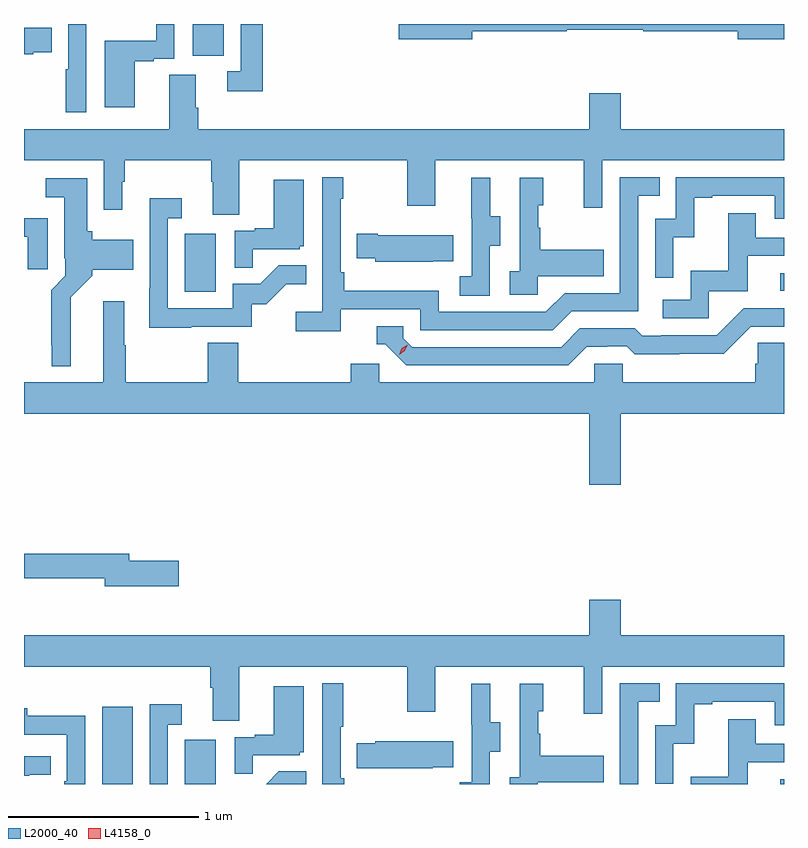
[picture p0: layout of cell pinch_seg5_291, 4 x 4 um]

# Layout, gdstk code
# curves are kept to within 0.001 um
import gdstk
lib = gdstk.Library(unit=1e-6, precision=1e-09)
def R(c, l, rs):  # rectangles x0, y0, x1, y1
    for r in rs: c.add(gdstk.rectangle(r[:2], r[2:], *l))
def P(c, l, *ps):  # polygons
    for p in ps: c.add(gdstk.Polygon(p, *l))
L2000_40 = (2000, 40)
L4158_0 = (4158, 0)

pinch_seg5_291 = lib.new_cell('pinch_seg5_291')
R(pinch_seg5_291, L2000_40, [(893.711,888.11,893.872,888.517), (894.146,888.11,894.31,888.343), (897.279,888.11,897.3,888.135), (894.146,890.7,894.31,891.007), (897.279,890.706,897.3,890.799), (894.188,891.942,894.352,892.11)])
P(pinch_seg5_291, L2000_40, [(895.66,892.072),(896.156,892.072),(896.156,892.08),(896.56,892.08),(896.56,892.072),(897.056,892.072),(897.056,892.03),(897.3,892.03),(897.3,892.11),(895.272,892.11),(895.272,892.03),(895.66,892.03)],
  [(893.628,892.11),(893.532,892.11),(893.532,891.872),(893.52,891.872),(893.52,891.645),(893.628,891.645)],
  [(893.884,891.915),(893.984,891.915),(893.984,891.927),(894.09,891.927),(894.09,892.11),(893.995,892.11),(893.995,892.023),(893.726,892.023),(893.726,891.672),(893.884,891.672)],
  [(894.557,892.11),(894.441,892.11),(894.441,891.861),(894.369,891.861),(894.369,891.756),(894.557,891.756)],
  [(893.859,892.11),(893.713,892.11),(893.713,892.108),(893.857,892.108)],
  [(893.349,891.961),(893.447,891.961),(893.447,892.09),(893.3,892.09),(893.3,891.95),(893.349,891.95)],
  [(894.433,891.392),(895.318,891.392),(895.318,891.153),(895.465,891.153),(895.465,891.392),(896.246,891.392),(896.246,891.144),(896.343,891.144),(896.343,891.392),(897.3,891.392),(897.3,891.556),(896.44,891.556),(896.44,891.745),(896.276,891.745),(896.276,891.556),(894.218,891.556),(894.218,891.668),(894.205,891.668),(894.205,891.842),(894.065,891.842),(894.065,891.556),(893.3,891.556),(893.3,891.392),(893.721,891.392),(893.721,891.132),(893.818,891.132),(893.818,891.28),(893.83,891.28),(893.83,891.392),(894.286,891.392),(894.286,891.28),(894.293,891.28),(894.293,891.106),(894.433,891.106)],
  [(894.968,890.61),(895.386,890.61),(895.386,890.499),(896.083,890.499),(896.182,890.598),(896.532,890.598),(896.532,891.207),(896.645,891.207),(896.645,891.303),(896.436,891.303),(896.436,890.694),(896.145,890.694),(896.046,890.595),(895.482,890.595),(895.482,890.707),(894.986,890.707),(894.986,890.803),(894.966,890.803),(894.966,891.191),(894.979,891.191),(894.979,891.304),(894.87,891.304),(894.87,890.596),(894.729,890.596),(894.729,890.494),(894.968,890.494)],
  [(896.718,890.987),(896.828,890.987),(896.828,891.195),(896.923,891.195),(896.923,891.207),(897.252,891.207),(897.252,891.084),(897.3,891.084),(897.3,891.303),(896.73,891.303),(896.73,891.084),(896.622,891.084),(896.622,890.775),(896.718,890.775)],
  [(895.752,890.944),(895.807,890.944),(895.807,891.099),(895.753,891.099),(895.753,891.301),(895.655,891.301),(895.655,891.087),(895.656,891.087),(895.656,890.783),(895.593,890.783),(895.593,890.68),(895.752,890.68)],
  [(896.004,890.783),(896.351,890.783),(896.351,890.923),(896.017,890.923),(896.017,891.038),(896.007,891.038),(896.007,891.156),(896.032,891.156),(896.032,891.301),(895.908,891.301),(895.908,890.81),(895.857,890.81),(895.857,890.685),(896.004,890.685)],
  [(893.545,890.672),(893.658,890.785),(893.658,890.816),(893.875,890.816),(893.875,890.974),(893.658,890.974),(893.658,891.018),(893.632,891.018),(893.632,891.298),(893.415,891.298),(893.415,891.197),(893.513,891.197),(893.513,890.878),(893.517,890.878),(893.517,890.784),(893.443,890.71),(893.443,890.419),(893.447,890.419),(893.447,890.309),(893.545,890.309)],
  [(894.503,890.925),(894.75,890.925),(894.75,890.94),(894.772,890.94),(894.772,891.289),(894.614,891.289),(894.614,891.034),(894.515,891.034),(894.515,891.021),(894.408,891.021),(894.408,890.827),(894.503,890.827)],
  [(894.179,890.517),(894.498,890.517),(894.498,890.634),(894.574,890.634),(894.681,890.741),(894.785,890.741),(894.785,890.84),(894.641,890.84),(894.543,890.742),(894.399,890.742),(894.399,890.613),(894.057,890.613),(894.057,891.087),(894.13,891.087),(894.13,891.193),(893.961,891.193),(893.96,890.512),(894.179,890.512)],
  [(896.904,890.703),(897.109,890.703),(897.109,890.889),(897.3,890.889),(897.3,890.985),(897.151,890.985),(897.151,891.115),(897.007,891.115),(897.007,890.812),(896.808,890.812),(896.808,890.658),(896.661,890.658),(896.661,890.562),(896.904,890.562)],
  [(893.425,891.087),(893.3,891.087),(893.3,890.991),(893.321,890.991),(893.321,890.82),(893.425,890.82)],
  [(895.451,890.861),(895.559,890.861),(895.559,890.998),(895.162,890.998),(895.162,891.006),(895.051,891.006),(895.051,890.876),(895.149,890.876),(895.149,890.858),(895.451,890.858)],
  [(896.44,890.06),(897.3,890.06),(897.3,890.432),(897.163,890.432),(897.163,890.322),(897.149,890.322),(897.149,890.224),(896.451,890.224),(896.451,890.322),(896.301,890.322),(896.301,890.224),(895.17,890.224),(895.17,890.322),(895.019,890.322),(895.019,890.224),(894.428,890.224),(894.428,890.432),(894.268,890.432),(894.268,890.224),(893.835,890.224),(893.835,890.42),(893.827,890.42),(893.827,890.65),(893.717,890.65),(893.717,890.224),(893.3,890.224),(893.3,890.06),(896.276,890.06),(896.276,889.686),(896.44,889.686)],
  [(896.263,890.412),(896.37,890.412),(896.37,890.415),(896.473,890.415),(896.515,890.373),(896.748,890.373),(896.748,890.375),(896.984,890.375),(897.126,890.517),(897.3,890.517),(897.3,890.613),(897.087,890.613),(896.946,890.472),(896.653,890.472),(896.653,890.469),(896.554,890.469),(896.515,890.508),(896.226,890.508),(896.127,890.409),(895.344,890.409),(895.296,890.457),(895.296,890.52),(895.157,890.52),(895.157,890.424),(895.2,890.424),(895.311,890.313),(896.164,890.313)],
  [(894.115,889.286),(893.854,889.286),(893.854,889.322),(893.3,889.322),(893.3,889.194),(893.726,889.194),(893.726,889.151),(894.115,889.151)],
  [(894.433,888.728),(895.318,888.728),(895.318,888.489),(895.465,888.489),(895.465,888.728),(896.246,888.728),(896.246,888.48),(896.343,888.48),(896.343,888.728),(897.3,888.728),(897.3,888.892),(896.44,888.892),(896.44,889.081),(896.276,889.081),(896.276,888.892),(893.3,888.892),(893.3,888.728),(894.281,888.728),(894.281,888.616),(894.293,888.616),(894.293,888.442),(894.433,888.442)],
  [(894.986,888.139),(894.966,888.139),(894.966,888.412),(894.979,888.412),(894.979,888.64),(894.87,888.64),(894.87,888.11),(894.986,888.11)],
  [(896.718,888.323),(896.828,888.323),(896.828,888.531),(896.923,888.531),(896.923,888.543),(897.252,888.543),(897.252,888.42),(897.3,888.42),(897.3,888.639),(896.73,888.639),(896.73,888.42),(896.622,888.42),(896.622,888.111),(896.718,888.111)],
  [(896.532,888.543),(896.645,888.543),(896.645,888.639),(896.436,888.639),(896.436,888.11),(896.532,888.11)],
  [(895.752,888.28),(895.807,888.28),(895.807,888.435),(895.753,888.435),(895.753,888.637),(895.655,888.637),(895.655,888.423),(895.656,888.423),(895.656,888.119),(895.593,888.119),(895.593,888.11),(895.752,888.11)],
  [(896.004,888.119),(896.351,888.119),(896.351,888.259),(896.017,888.259),(896.017,888.374),(896.007,888.374),(896.007,888.492),(896.032,888.492),(896.032,888.637),(895.908,888.637),(895.908,888.146),(895.857,888.146),(895.857,888.11),(896.004,888.11)],
  [(894.503,888.261),(894.75,888.261),(894.75,888.276),(894.772,888.276),(894.772,888.625),(894.614,888.625),(894.614,888.37),(894.515,888.37),(894.515,888.357),(894.408,888.357),(894.408,888.163),(894.503,888.163)],
  [(894.057,888.423),(894.13,888.423),(894.13,888.529),(893.961,888.529),(893.961,888.11),(894.057,888.11)],
  [(893.622,888.47),(893.317,888.47),(893.317,888.508),(893.3,888.508),(893.3,888.369),(893.526,888.369),(893.526,888.124),(893.513,888.124),(893.513,888.11),(893.622,888.11)],
  [(897.109,888.225),(897.3,888.225),(897.3,888.321),(897.151,888.321),(897.151,888.451),(897.007,888.451),(897.007,888.148),(896.808,888.148),(896.808,888.11),(897.109,888.11)],
  [(895.451,888.197),(895.559,888.197),(895.559,888.334),(895.149,888.334),(895.149,888.324),(895.051,888.324),(895.051,888.194),(895.451,888.194)],
  [(893.327,888.159),(893.44,888.159),(893.44,888.255),(893.3,888.255),(893.3,888.154),(893.327,888.154)],
  [(894.785,888.176),(894.641,888.176),(894.575,888.11),(894.785,888.11)])
P(pinch_seg5_291, L4158_0, [(895.274,890.37),(895.274,890.37),(895.289,890.403),(895.32,890.423),(895.32,890.423),(895.32,890.423),(895.304,890.39),(895.274,890.37)])

lib.write_gds('pinch_seg5_291.gds')
